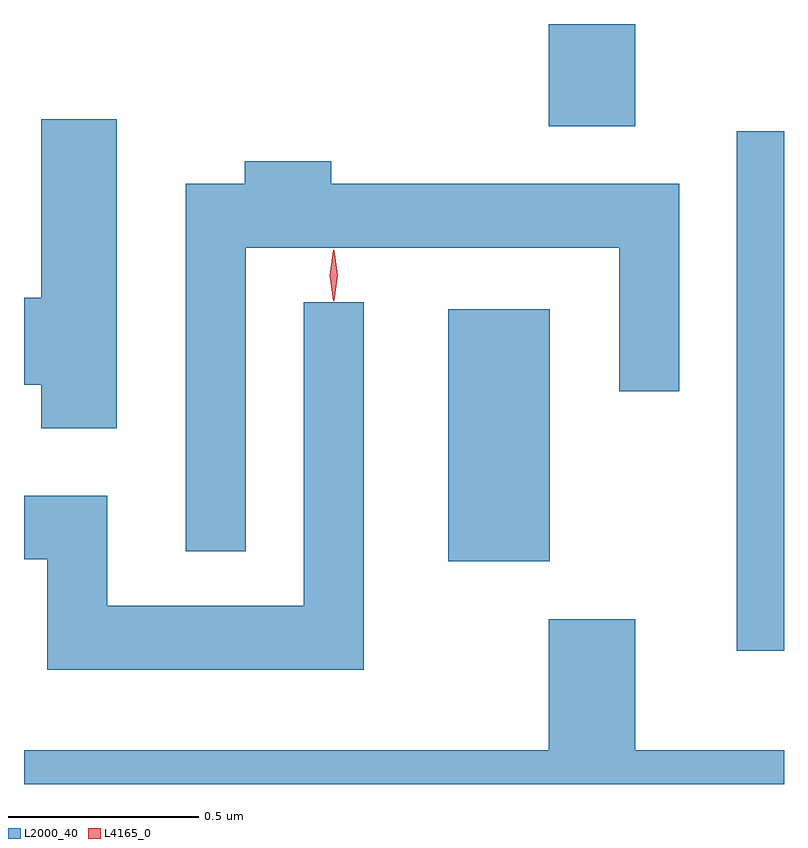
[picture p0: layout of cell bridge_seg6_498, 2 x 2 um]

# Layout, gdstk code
import gdstk
lib = gdstk.Library(unit=1e-6, precision=1e-09)
def R(c, l, rs):  # rectangles x0, y0, x1, y1
    for r in rs: c.add(gdstk.rectangle(r[:2], r[2:], *l))
def P(c, l, *ps):  # polygons
    for p in ps: c.add(gdstk.Polygon(p, *l))
L2000_40 = (2000, 40)
L4165_0 = (4165, 0)

bridge_seg6_498 = lib.new_cell('bridge_seg6_498')
R(bridge_seg6_498, L2000_40, [(689.616,1532.806,689.74,1534.173), (688.856,1533.041,689.124,1533.704), (689.121,1534.186,689.349,1534.455)])
P(bridge_seg6_498, L2000_40, [(687.984,1534.204),(687.786,1534.204),(687.786,1533.734),(687.74,1533.734),(687.74,1533.506),(687.786,1533.506),(687.786,1533.391),(687.984,1533.391)],
  [(688.324,1533.866),(689.306,1533.866),(689.306,1533.488),(689.464,1533.488),(689.464,1534.034),(688.549,1534.034),(688.549,1534.094),(688.321,1534.094),(688.321,1534.034),(688.166,1534.034),(688.166,1533.068),(688.324,1533.068)],
  [(688.634,1533.723),(688.476,1533.723),(688.476,1532.924),(687.959,1532.924),(687.959,1533.214),(687.74,1533.214),(687.74,1533.046),(687.801,1533.046),(687.801,1532.756),(688.634,1532.756)],
  [(689.74,1532.544),(689.349,1532.544),(689.349,1532.889),(689.121,1532.889),(689.121,1532.544),(687.74,1532.544),(687.74,1532.455),(689.74,1532.455)])
P(bridge_seg6_498, L4165_0, [(688.554,1533.727),(688.545,1533.794),(688.554,1533.86),(688.555,1533.861),(688.556,1533.86),(688.565,1533.794),(688.556,1533.727),(688.555,1533.727)])

lib.write_gds('bridge_seg6_498.gds')
